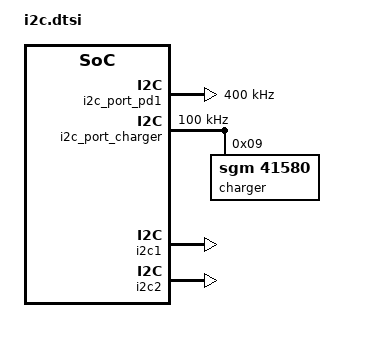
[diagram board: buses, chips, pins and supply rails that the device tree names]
/* Copyright 2025 The ChromiumOS Authors
 * Use of this source code is governed by a BSD-style license that can be
 * found in the LICENSE file.
 */
/ {
	named-i2c-ports {
		compatible = "named-i2c-ports";

		i2c_named_i2c_port_pd1: named_i2c_port_pd_aic1 {
			i2c-port = <&i2c_port_pd1>;
			enum-names = "I2C_PORT_PD";
		};
		i2c_named_i2c_port_charger: named_i2c_port_charger {
			i2c-port = <&i2c_port_charger>;
			enum-names = "I2C_PORT_BATTERY",
				"I2C_PORT_CHARGER";
		};
	};
};

&i2c_port_pd1 {
	label = "I2C_PORT_PD";
	clock-frequency = <I2C_BITRATE_FAST>;
};

&i2c_port_charger {
	label = "I2C_PORT_CHARGER";
	clock-frequency = <I2C_BITRATE_STANDARD>;

	charger: sgm41538@9 {
		compatible = "sgm,41580";
		status = "okay";
		reg = <0x9>;
	};
};

&i2c1 {
	status = "okay";
	pinctrl-0 = <&i2c1_clk_gpc1_default
		&i2c1_data_gpc2_default>;
	pinctrl-names = "default";
};

&i2c2 {
	status = "okay";
	pinctrl-0 = <&i2c2_clk_gpf6_default
		&i2c2_data_gpf7_default>;
	pinctrl-names = "default";
};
